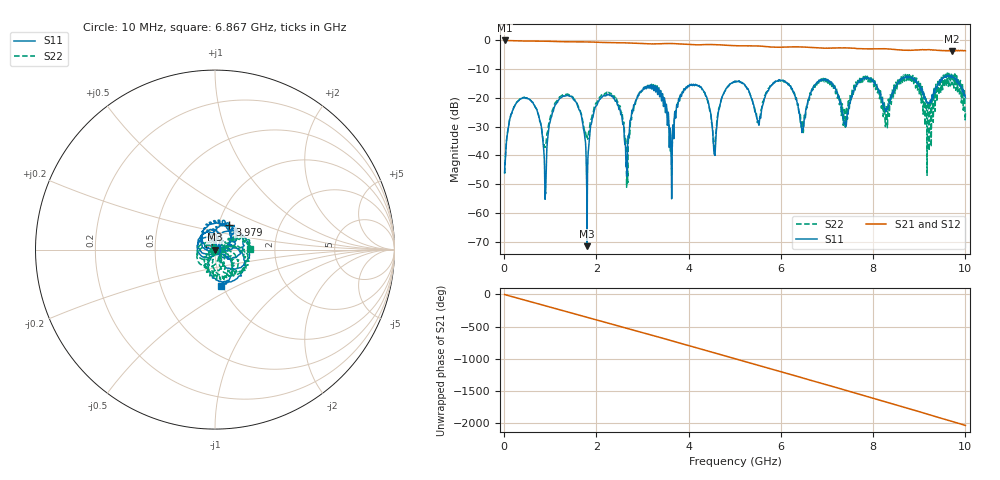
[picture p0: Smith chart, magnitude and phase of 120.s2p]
!Keysight Technologies,E5080B,MY59205177,A.15.75.32
!Date: Friday, February 23, 2024 03:37:49
!Correction: S11(Cdelta 2-Port  )
!S21(Cdelta 2-Port  )
!S12(Cdelta 2-Port  )
!S22(Cdelta 2-Port  )
!S2P File: Measurements: S11, S21, S12, S22:
# Hz S  dB  R 50
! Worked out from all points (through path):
!   10001 points, 10 MHz to 10 GHz, reference 50 ohm
!   highest |S21| = -0.01 dB at 10 MHz (marker M1); lowest = -3.7 dB at 9.701 GHz (marker M2)
!   group delay of S21, straight-line fit = 565 ps
!   lowest |S11| = -71.6 dB at 1.799 GHz (marker M3), VSWR 1.00, Z = 50 + j0.000772 ohm
!   |S11| at or under -10 dB: start of sweep to end of sweep
!   |S22| runs from -51.1 to -11.1 dB; largest |S21 - S12| = 0.0016
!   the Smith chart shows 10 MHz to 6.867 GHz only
!   S11 on the Smith chart (normalised r, x): 10 MHz: 1.01, -0.00; 3.979 GHz: 1.12, +0.32; 6.867 GHz: 0.98, -0.41
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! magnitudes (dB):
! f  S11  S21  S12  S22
! 10 MHz  -46.1  0.0  0.0  -46.0
! 372.6 MHz  -20.2  -0.2  -0.2  -20.1
! 888.1 MHz  -54.7  -0.3  -0.3  -37.0
! 1.177 GHz  -20.8  -0.4  -0.4  -20.2
! 1.675 GHz  -26.2  -0.5  -0.5  -25.6
! 1.799 GHz  -71.6  -0.5  -0.5  -33.3
! 2.108 GHz  -19.8  -0.7  -0.7  -19.0
! 2.662 GHz  -46.8  -0.9  -0.9  -44.0
! 2.892 GHz  -19.3  -1.0  -1.0  -20.0
! 3.341 GHz  -17.4  -1.2  -1.2  -17.6
! 3.627 GHz  -47.0  -1.1  -1.1  -41.9
! 3.979 GHz  -15.9  -1.4  -1.4  -16.0
! 4.561 GHz  -39.6  -1.5  -1.4  -38.5
! 5.005 GHz  -14.1  -1.8  -1.8  -14.5
! 5.517 GHz  -29.3  -2.0  -2.0  -28.4
! 6.107 GHz  -14.7  -2.3  -2.3  -14.8
! 6.464 GHz  -31.5  -2.3  -2.3  -27.8
! 6.67 GHz  -17.3  -2.5  -2.5  -17.0
! 6.867 GHz  -13.8  -2.7  -2.6  -14.2
! 8.336 GHz  -22.7  -3.0  -3.0  -21.0
! 9.701 GHz  -12.2  -3.7  -3.7  -13.8
! 10 GHz  -20.0  -3.6  -3.6  -25.4
